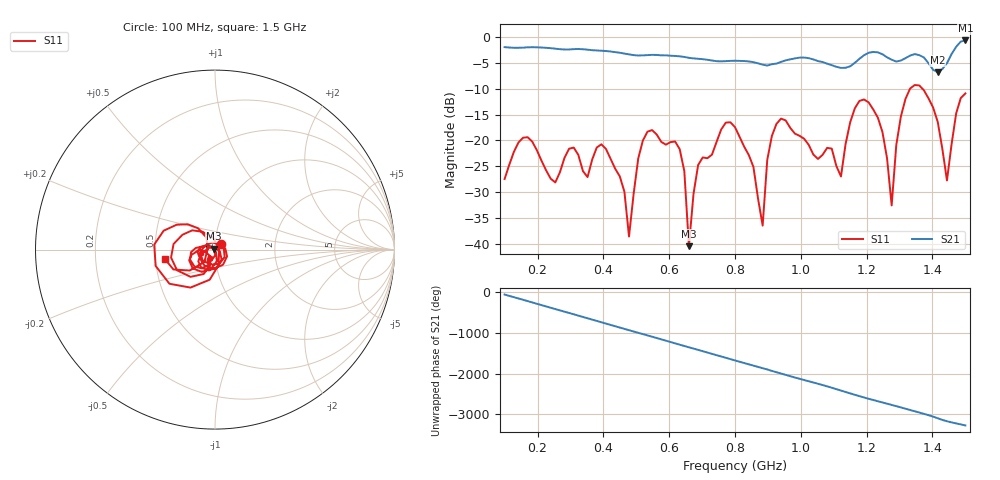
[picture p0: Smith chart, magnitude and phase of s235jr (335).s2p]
! NanoVNA-App
! Date: 2025-09-25 15:06:46
! Start: 100MHz Stop: 1,5GHz Points: 101
! S-Parameter data: F S11 S21 S12 S22
# Hz S RI R 50
!  Frequency  S11_Real  S11_Imag  S21_Real  S21_Imag  S12_Real  S12_Imag  S22_Real  S22_Imag
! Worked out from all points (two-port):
!   101 points, 100 MHz to 1.5 GHz, reference 50 ohm
!   highest |S21| = -0.67 dB at 1.5 GHz (marker M1); lowest = -6.8 dB at 1.416 GHz (marker M2)
!   |S21| within 3 dB of the highest: start of sweep to 618.4 MHz; 1.189 GHz to 1.256 GHz (66.53 MHz wide, 5.44 % of centre) (the widest 2 of 4)
!   lowest |S11| = -40.5 dB at 660 MHz (marker M3), VSWR 1.02, Z = 49.2 + j0.53 ohm
!   |S11| at or under -10 dB: start of sweep to 1.332 GHz; 1.369 GHz to end of sweep
!   S12 and S22 are empty: the file has one direction only
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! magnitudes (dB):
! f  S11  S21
! 100 MHz  -27.5  -2.0
! 170 MHz  -19.4  -2.0
! 338 MHz  -25.9  -2.4
! 408 MHz  -21.7  -2.7
! 478 MHz  -38.6  -3.4
! 520 MHz  -20.0  -3.6
! 576 MHz  -20.3  -3.5
! 632 MHz  -21.7  -3.7
! 660 MHz  -40.5  -4.0
! 688 MHz  -24.8  -4.2
! 800 MHz  -17.4  -4.6
! 884 MHz  -36.5  -5.4
! 926 MHz  -16.8  -5.1
! 1.038 GHz  -22.7  -4.3
! 1.122 GHz  -27.0  -6.0
! 1.206 GHz  -12.7  -3.0
! 1.248 GHz  -18.4  -3.3
! 1.276 GHz  -32.6  -4.4
! 1.332 GHz  -10.0  -3.6
! 1.416 GHz  -16.4  -6.8
! 1.444 GHz  -27.8  -5.1
! 1.5 GHz  -10.9  -0.7
